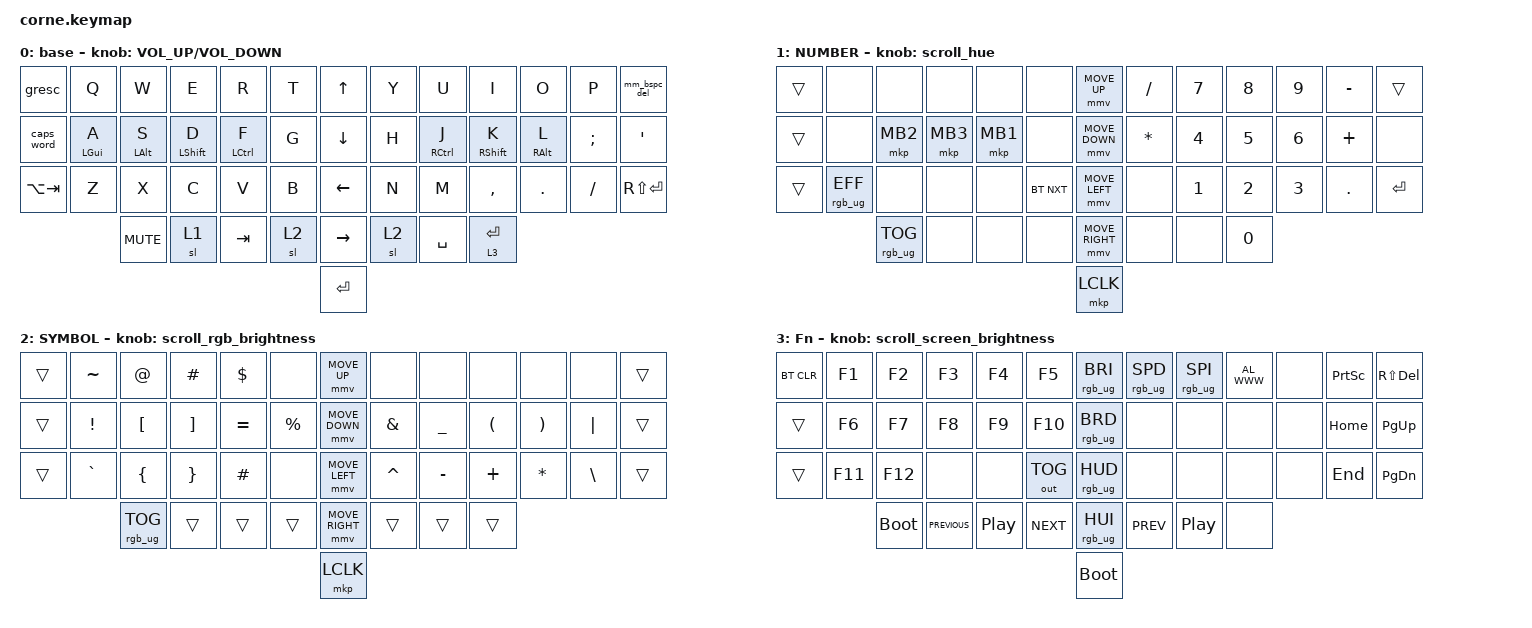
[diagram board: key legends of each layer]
#include <behaviors/mouse_keys.dtsi>
#include <dt-bindings/zmk/mouse.h>
#include <behaviors.dtsi>
#include <dt-bindings/zmk/bt.h>
#include <dt-bindings/zmk/keys.h>
#include <dt-bindings/zmk/outputs.h>
#include <dt-bindings/zmk/rgb.h>

#define ZMK_MOUSE_DEFAULT_MOVE_VAL 1200  // 600
#define ZMK_MOUSE_DEFAULT_SCRL_VAL 20    // 10
#define U_MS_U &mmv MOVE_UP
#define U_MS_D &mmv MOVE_DOWN
#define U_MS_L &mmv MOVE_LEFT
#define U_MS_R &mmv MOVE_RIGHT

&mt {
    flavor = "tap-preferred";
    tapping-term-ms = <300>;
};

/ {
    behaviors {
        td_shift_caps: td_shift_caps {
            compatible = "zmk,behavior-tap-dance";
            label = "TD_SHIFT_CAPS";
            #binding-cells = <0>;
            bindings = <&kp LEFT_SHIFT>, <&kp CAPS>;
        };

        scroll_hue: scroll_hue {
            compatible = "zmk,behavior-sensor-rotate";
            #sensor-binding-cells = <0>;
            bindings = <&rgb_ug RGB_HUI>, <&rgb_ug RGB_HUD>;

            tap-ms = <30>;
            label = "SCROLL_HUE";
        };

        scroll_screen_brightness: scroll_screen_brightness {
            compatible = "zmk,behavior-sensor-rotate";
            label = "SCROLL_SCREEN_BRIGHTNESS";
            #sensor-binding-cells = <0>;
            bindings = <&kp C_BRIGHTNESS_INC>, <&kp C_BRIGHTNESS_DEC>;
        };

        td_sticky_shift_enter: td_sticky_shift_enter {
            compatible = "zmk,behavior-tap-dance";
            label = "TD_STICKY_SHIFT_ENTER";
            #binding-cells = <0>;
            bindings = <&quick_release_sk RIGHT_SHIFT>, <&kp RET>;

            tapping-term-ms = <400>;
        };

        quick_release_sk: quick_release_sk {
            compatible = "zmk,behavior-sticky-key";
            label = "QUICK_RELEASE_SK";
            bindings = <&kp>;
            #binding-cells = <1>;
            quick-release;
            release-after-ms = <1000>;
        };

        tdd_shift_enter: tdd_shift_enter {
            compatible = "zmk,behavior-tap-dance";
            label = "TDD_SHIFT_ENTER";
            #binding-cells = <0>;
            bindings = <&kp RIGHT_SHIFT>, <&kp RET>, <&kp RS(RET)>;

            tapping-term-ms = <500>;
        };

        mm_bspc_del: mm_bspc_del {
            compatible = "zmk,behavior-mod-morph";
            label = "MM_BSPC_DEL";
            bindings = <&kp BACKSPACE>, <&kp DELETE>;

            #binding-cells = <0>;
            mods = <(MOD_LSFT|MOD_RSFT)>;
        };

        td_tab_escape: td_tab_escape {
            compatible = "zmk,behavior-tap-dance";
            label = "TD_TAB_ESCAPE";
            #binding-cells = <0>;
            bindings = <&kp TAB>, <&kp ESCAPE>;

            tapping-term-ms = <250>;
        };

        num_word: num_word {
            compatible = "zmk,behavior-caps-word";
            label = "NUM_WORD";
            #binding-cells = <0>;
            continue-list = <NUMBER_1 NUMBER_2 NUMBER_3 NUMBER_4 NUMBER_5 NUMBER_6 NUMBER_7 NUMBER_8 NUMBER_9 NUMBER_0>;
        };

        mmv {
            acceleration-exponent = <1>;      // 1
            time-to-max-speed-ms = <900>;    // 40
            delay-ms = <0>;                   // 0
        };

        msc {
            acceleration-exponent = <1>;      // 0
            time-to-max-speed-ms = <400>;      // 500
            delay-ms = <0>;                   // 10
        };
    };

    scroll_rgb_brightness: scroll_rgb_brightness {
        compatible = "zmk,behavior-sensor-rotate";
        label = "SCROLL_RGB_BRIGHTNESS";
        #sensor-binding-cells = <0>;
        bindings = <&rgb_ug RGB_BRI>, <&rgb_ug RGB_BRD>;
    };

    scroll_encoder: scroll_encoder {
        compatible = "zmk,behavior-sensor-rotate";
        #sensor-binding-cells = <0>;
        bindings = <&msc SCRL_DOWN>, <&msc SCRL_UP>;

        tap-ms = <30>;
    };

    combos {
        compatible = "zmk,combos";

        soft_off {
            bindings = <&soft_off>;
            key-positions = <26 0 13>;
            layers = <0>;
        };
    };

    keymap {
        compatible = "zmk,keymap";

        default_layer {
            display-name = "base";

            // --------------------------------------------------------------------------------
            // |  TAB |  Q  |  W  |  E  |  R  |  T  |                ↑    |  Y  |  U   |  I  |  O  |  P  | BKSP |      &kp UP_ARROW 
            // | SHIFT |  A  |  S  |  D  |  F  |  G  |               ↓    |  H  |  J   |  K  |  L  |  ;  |  '   | 
            // | CTRL |  Z  |  X  |  C  |  V  |  B  |                ←    |  N  |  M   |  ,  |  .  |  /  | ESC  |
            //                    | GUI | LWR | SPC |                →    | ENT | RSE  | ALT |
            //                                                      enter

            bindings = <
&gresc       &kp Q           &kp W           &kp E             &kp R        &kp T    &kp UP_ARROW     &kp Y  &kp U        &kp I         &kp O            &kp P          &mm_bspc_del
&caps_word   &mt LEFT_GUI A  &mt LEFT_ALT S  &mt LEFT_SHIFT D  &mt LCTRL F  &kp G    &kp DOWN_ARROW   &kp H  &mt RCTRL J  &mt RSHIFT K  &mt RIGHT_ALT L  &kp SEMICOLON  &kp SQT
&kp LA(TAB)  &kp Z           &kp X           &kp C             &kp V        &kp B    &kp LEFT_ARROW   &kp N  &kp M        &kp COMMA     &kp DOT          &kp FSLH       &kp RS(RET)
                             &kp C_MUTE      &sl 1             &kp TAB      &sl 2    &kp RIGHT_ARROW  &sl 2  &kp SPACE    &lt 3 RET
                                                                                     &kp ENTER
            >;

            label = "QWERTY";
            sensor-bindings = <&inc_dec_kp C_VOLUME_UP C_VOLUME_DOWN>;
        };

        lower_layer {
            display-name = "NUMBER";

            // -----------------------------------------------------------------------------------------
            // |  TAB |  1  |  2  |  3  |  4  |  5  |   |  6  |  7  |  8  |  9  |  0  | BKSP |
            // | BTCLR| BT1 | BT2 | BT3 | BT4 | BT5 |   | LFT | DWN |  UP | RGT |     |      |
            // | SHFT |     |     |     |     |     |   |     |     |     |     |     |      |
            //                    | GUI |     | SPC |   | ENT |     | ALT |

            bindings = <
&trans  &none            &none            &none     &none     &none         &mmv MOVE_UP     &kp SLASH     &kp N7  &kp N8  &kp N9  &kp MINUS  &trans
&trans  &none            &mkp MB2         &mkp MB3  &mkp MB1  &none         &mmv MOVE_DOWN   &kp ASTERISK  &kp N4  &kp N5  &kp N6  &kp PLUS   &none
&trans  &rgb_ug RGB_EFF  &none            &none     &none     &bt BT_NXT    &mmv MOVE_LEFT   &none         &kp N1  &kp N2  &kp N3  &kp DOT    &kp RET
                         &rgb_ug RGB_TOG  &none     &none     &none         &mmv MOVE_RIGHT  &none         &none   &kp N0
                                                                            &mkp LCLK
            >;

            label = "NUMBER";
            sensor-bindings = <&scroll_hue>;
        };

        raise_layer {
            display-name = "SYMBOL";

            // -----------------------------------------------------------------------------------------
            // |  TAB |  !  |  @  |  #  |  $  |  %  |   |  ^  |  &  |  *  |  (  |  )  | BKSP |
            // | CTRL |     |     |     |     |     |   |  -  |  =  |  [  |  ]  |  \  |  `   |
            // | SHFT |     |     |     |     |     |   |  _  |  +  |  {  |  }  | "|" |  ~   |
            //                    | GUI |     | SPC |   | ENT |     | ALT |

            bindings = <
&trans  &kp TILDE        &kp AT           &kp HASH         &kp DLLR   &none          &mmv MOVE_UP     &none          &none           &none                 &none                  &none          &trans
&trans  &kp EXCLAMATION  &kp LBKT         &kp RBKT         &kp EQUAL  &kp PERCENT    &mmv MOVE_DOWN   &kp AMPERSAND  &kp UNDERSCORE  &kp LEFT_PARENTHESIS  &kp RIGHT_PARENTHESIS  &kp PIPE       &trans
&trans  &kp GRAVE        &kp LEFT_BRACE   &kp RIGHT_BRACE  &kp HASH   &none          &mmv MOVE_LEFT   &kp CARET      &kp MINUS       &kp PLUS              &kp ASTERISK           &kp BACKSLASH  &trans
                         &rgb_ug RGB_TOG  &trans           &trans     &trans         &mmv MOVE_RIGHT  &trans         &trans          &trans
                                                                                     &mkp LCLK
            >;

            label = "SYMBOL";
            sensor-bindings = <&scroll_rgb_brightness>;
        };

        layer_3 {
            display-name = "Fn";
            bindings = <
&bt BT_CLR  &kp F1   &kp F2       &kp F3          &kp F4    &kp F5          &rgb_ug RGB_BRI  &rgb_ug RGB_SPD  &rgb_ug RGB_SPI   &kp C_AL_WWW  &none  &kp PRINTSCREEN  &kp RS(DEL)
&trans      &kp F6   &kp F7       &kp F8          &kp F9    &kp F10         &rgb_ug RGB_BRD  &none            &none             &none         &none  &kp HOME         &kp PAGE_UP
&trans      &kp F11  &kp F12      &none           &none     &out OUT_TOG    &rgb_ug RGB_HUD  &none            &none             &none         &none  &kp END          &kp PAGE_DOWN
                     &bootloader  &kp C_PREVIOUS  &kp C_PP  &kp C_NEXT      &rgb_ug RGB_HUI  &kp C_PREV       &kp C_PLAY_PAUSE  &none
                                                                            &bootloader
            >;

            label = "FN";
            sensor-bindings = <&scroll_screen_brightness>;
        };
    };

    conditional_layers { compatible = "zmk,conditional-layers"; };
};
